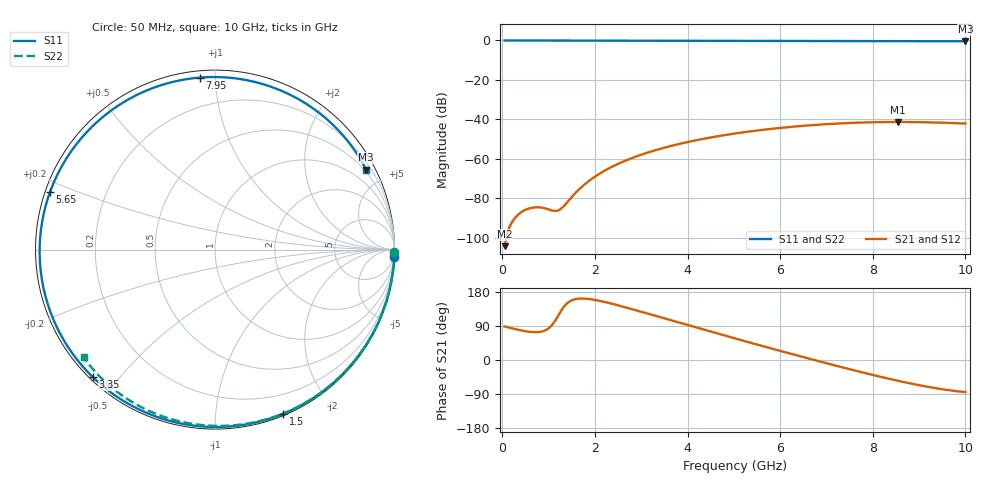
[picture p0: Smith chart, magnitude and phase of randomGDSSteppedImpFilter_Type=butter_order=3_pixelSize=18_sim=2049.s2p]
! freq	dB(S11)	phase(S11)	dB(S12)	phase(S12)
!  dB(S21)	phase(S21)	dB(S22)	phase(S22)
!S-par simulation data
#  GHz  S  DB  R 50
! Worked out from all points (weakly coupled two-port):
!   200 points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, 50 MHz to 10 GHz, reference 50 ohm
!   highest |S21| = -41.35 dB at 8.55 GHz (marker M1); lowest = -104.3 dB at 50 MHz (marker M2)
!   lowest |S11| = -0.4 dB at 10 GHz (marker M3), VSWR 40.72, Z = 20.9 + j199 ohm
!   |S11| at or under -10 dB: nowhere
!   |S22| runs from -0.5 to 0.0 dB; largest |S21 - S12| = 0
!   S11 on the Smith chart (normalised r, x): 50 MHz: 0, -48; 1.5 GHz: 0.01, -1.50; 3.35 GHz: 0.01, -0.43; 5.65 GHz: 0.01, +0.17; 7.95 GHz: 0.04, +0.91; 10 GHz: 0.42, +3.98
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0.05  -0.00 -2.4  -104.34 88.5  -104.34 88.5  -0.00 -0.8
0.35  -0.02 -16.5  -88.19 79.6  -88.19 79.6  -0.01 -5.7
0.7  -0.04 -32.7  -84.66 73.5  -84.66 73.5  -0.01 -11.4
1.1  -0.06 -50.6  -86.37 96.3  -86.37 96.3  -0.02 -17.8
1.5  -0.08 -67.5  -79.39 157.5  -79.39 157.5  -0.03 -24.2
1.75  -0.09 -77.7  -73.55 162.2  -73.55 162.2  -0.04 -28.1
2.05  -0.10 -89.3  -68.31 157.4  -68.31 157.4  -0.04 -32.8
2.4  -0.11 -102.1  -63.71 147.4  -63.71 147.4  -0.05 -38.3
2.85  -0.13 -117.6  -59.21 132.5  -59.21 132.5  -0.06 -45.2
3.35  -0.14 -133.7  -55.37 115.1  -55.37 115.1  -0.07 -52.7
3.4  -0.14 -135.3  -55.03 113.3  -55.03 113.3  -0.07 -53.5
4.2  -0.17 -159.0  -50.55 85.3  -50.55 85.3  -0.09 -65.2
5.05  -0.21 177.2  -47.11 56.0  -47.11 56.0  -0.12 -77.3
5.65  -0.23 160.8  -45.26 35.8  -45.26 35.8  -0.14 -85.5
6.15  -0.26 147.1  -44.02 19.1  -44.02 19.1  -0.16 -92.2
6.7  -0.28 131.8  -42.93 1.1  -42.93 1.1  -0.19 -99.4
7.35  -0.31 113.1  -42.01 -19.6  -42.01 -19.6  -0.23 -107.8
7.95  -0.34 95.1  -41.51 -38.0  -41.51 -38.0  -0.28 -115.4
8.35  -0.35 82.6  -41.37 -49.5  -41.37 -49.5  -0.31 -120.3
8.55  -0.36 76.3  -41.35 -55.0  -41.35 -55.0  -0.33 -122.8
9.25  -0.38 53.4  -41.55 -72.2  -41.55 -72.2  -0.39 -131.4
10  -0.43 27.9  -42.14 -84.8  -42.14 -84.8  -0.48 -140.6
